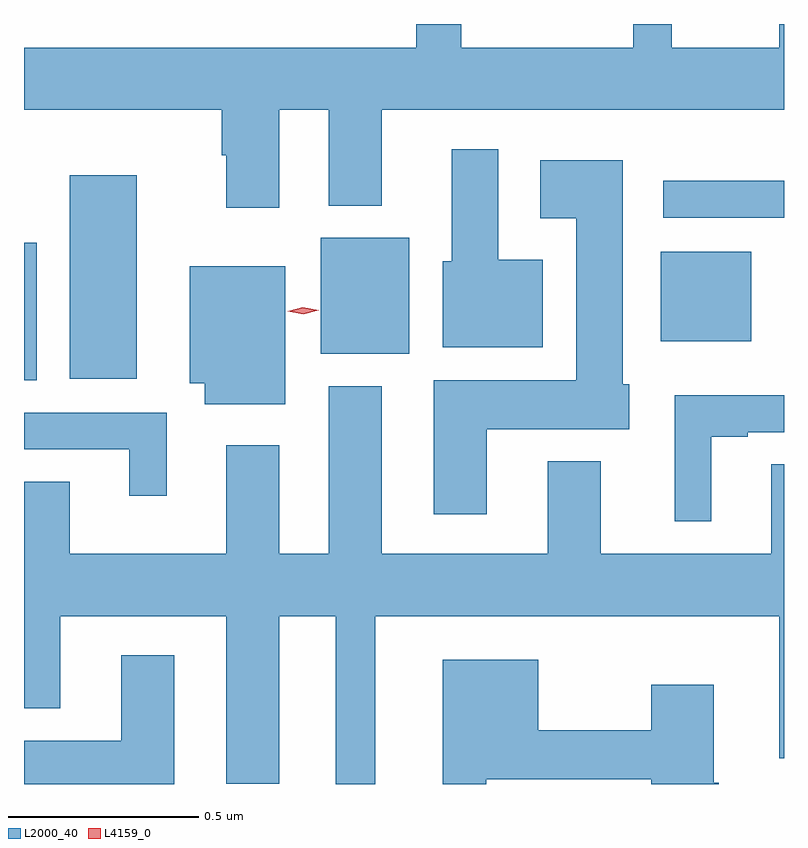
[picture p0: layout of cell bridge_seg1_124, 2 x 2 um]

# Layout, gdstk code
import gdstk
lib = gdstk.Library(unit=1e-6, precision=1e-09)
def R(c, l, rs):  # rectangles x0, y0, x1, y1
    for r in rs: c.add(gdstk.rectangle(r[:2], r[2:], *l))
def P(c, l, *ps):  # polygons
    for p in ps: c.add(gdstk.Polygon(p, *l))
L2000_40 = (2000, 40)
L4159_0 = (4159, 0)

bridge_seg1_124 = lib.new_cell('bridge_seg1_124')
R(bridge_seg1_124, L2000_40, [(198.985,565.672,199.018,566.035), (199.106,565.676,199.282,566.212), (199.766,565.742,199.999,566.047), (200.66,565.775,200.899,566.011), (200.667,566.1,200.985,566.198)])
P(bridge_seg1_124, L2000_40, [(199.657,566.384),(199.787,566.384),(199.787,566.132),(199.927,566.132),(199.927,566.384),(200.985,566.384),(200.985,566.61),(200.972,566.61),(200.972,566.548),(200.69,566.548),(200.69,566.61),(200.588,566.61),(200.588,566.548),(200.135,566.548),(200.135,566.61),(200.017,566.61),(200.017,566.548),(198.985,566.548),(198.985,566.384),(199.505,566.384),(199.505,566.264),(199.517,566.264),(199.517,566.127),(199.657,566.127)],
  [(200.35,565.99),(200.233,565.99),(200.233,566.281),(200.111,566.281),(200.111,565.986),(200.087,565.986),(200.087,565.76),(200.35,565.76)],
  [(200.203,565.544),(200.578,565.544),(200.578,565.662),(200.56,565.662),(200.56,566.251),(200.343,566.251),(200.343,566.099),(200.438,566.099),(200.438,565.672),(200.063,565.672),(200.063,565.32),(200.203,565.32)],
  [(199.672,565.972),(199.421,565.972),(199.421,565.664),(199.46,565.664),(199.46,565.61),(199.672,565.61)],
  [(199.909,565.052),(200.972,565.052),(200.972,564.678),(200.985,564.678),(200.985,565.451),(200.951,565.451),(200.951,565.216),(200.503,565.216),(200.503,565.459),(200.363,565.459),(200.363,565.216),(199.927,565.216),(199.927,565.657),(199.787,565.657),(199.787,565.216),(199.657,565.216),(199.657,565.501),(199.517,565.501),(199.517,565.216),(199.105,565.216),(199.105,565.406),(198.985,565.406),(198.985,564.809),(199.081,564.809),(199.081,565.052),(199.517,565.052),(199.517,564.611),(199.657,564.611),(199.657,565.052),(199.805,565.052),(199.805,564.61),(199.909,564.61)],
  [(200.794,565.524),(200.89,565.524),(200.89,565.536),(200.985,565.536),(200.985,565.633),(200.697,565.633),(200.697,565.301),(200.794,565.301)],
  [(199.36,565.587),(198.985,565.587),(198.985,565.491),(199.262,565.491),(199.262,565.368),(199.36,565.368)],
  [(199.381,564.949),(199.241,564.949),(199.241,564.724),(198.985,564.724),(198.985,564.61),(199.381,564.61)],
  [(200.201,564.622),(200.635,564.622),(200.635,564.61),(200.813,564.61),(200.813,564.613),(200.8,564.613),(200.8,564.871),(200.635,564.871),(200.635,564.751),(200.338,564.751),(200.338,564.937),(200.087,564.937),(200.087,564.61),(200.201,564.61)])
P(bridge_seg1_124, L4159_0, [(199.72,565.846),(199.679,565.854),(199.678,565.854),(199.679,565.854),(199.719,565.865),(199.76,565.857),(199.76,565.857),(199.76,565.857)])

lib.write_gds('bridge_seg1_124.gds')
